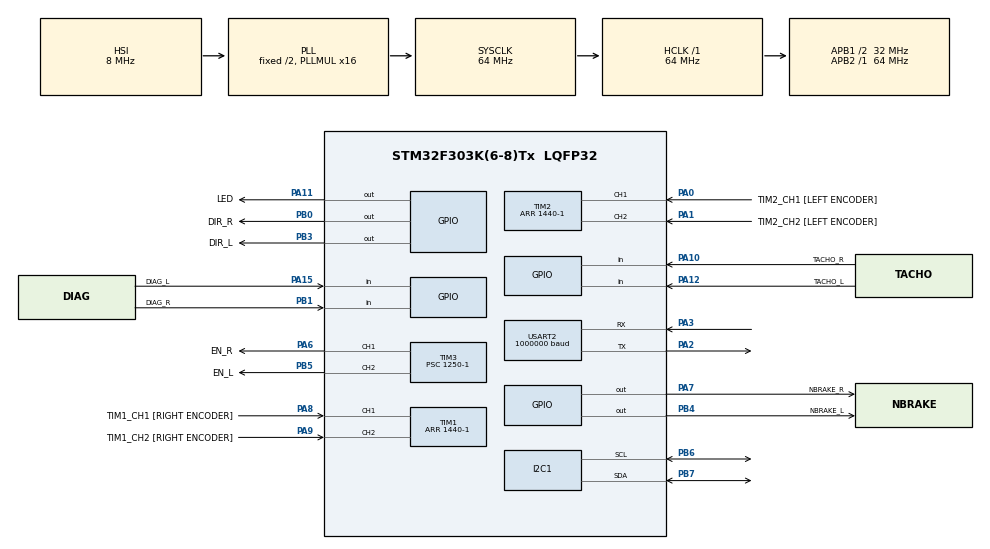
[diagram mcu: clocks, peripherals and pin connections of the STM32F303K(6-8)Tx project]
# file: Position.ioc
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Dma.Request0=USART2_RX
Dma.USART2_RX.0.Direction=DMA_PERIPH_TO_MEMORY
Dma.USART2_RX.0.Instance=DMA1_Channel6
Dma.USART2_RX.0.MemDataAlignment=DMA_MDATAALIGN_BYTE
Dma.USART2_RX.0.MemInc=DMA_MINC_ENABLE
Dma.USART2_RX.0.Mode=DMA_CIRCULAR
Dma.USART2_RX.0.PeriphDataAlignment=DMA_PDATAALIGN_BYTE
Dma.USART2_RX.0.PeriphInc=DMA_PINC_DISABLE
Dma.USART2_RX.0.Priority=DMA_PRIORITY_LOW
Mcu.Family=STM32F3
Mcu.Name=STM32F303K(6-8)Tx
Mcu.Package=LQFP32
NVIC.DMA1_Channel6_IRQn=true\:0\:0\:false\:false\:true\:false
NVIC.PriorityGroup=NVIC_PRIORITYGROUP_4
NVIC.TIM1_BRK_TIM15_IRQn=true\:0\:0\:false\:false\:true\:true
NVIC.USART2_IRQn=true\:0\:0\:false\:false\:true\:true
PA0.GPIO_Label=TIM2_CH1 [LEFT ENCODER]
PA0.GPIO_PuPd=GPIO_PULLUP
PA0.Signal=S_TIM2_CH1_ETR
PA1.GPIO_Label=TIM2_CH2 [LEFT ENCODER]
PA1.GPIO_PuPd=GPIO_PULLUP
PA1.Signal=S_TIM2_CH2
PA10.GPIO_Label=TACHO_R
PA10.Signal=GPIO_Input
PA11.GPIO_Label=LED
PA11.Signal=GPIO_Output
PA12.GPIO_Label=TACHO_L
PA12.Signal=GPIO_Input
PA15.GPIO_Label=DIAG_L
PA15.Signal=GPIO_Input
PA2.Mode=Asynchronous
PA2.Signal=USART2_TX
PA3.Mode=Asynchronous
PA3.Signal=USART2_RX
PA6.GPIO_Label=EN_R
PA6.Signal=S_TIM3_CH1
PA7.GPIO_Label=NBRAKE_R
PA7.Signal=GPIO_Output
PA8.GPIO_Label=TIM1_CH1 [RIGHT ENCODER]
PA8.GPIO_PuPd=GPIO_PULLUP
PA8.Signal=S_TIM1_CH1
PA9.GPIO_Label=TIM1_CH2 [RIGHT ENCODER]
PA9.GPIO_PuPd=GPIO_PULLUP
PA9.Signal=S_TIM1_CH2
PB0.GPIO_Label=DIR_R
PB0.Signal=GPIO_Output
PB1.GPIO_Label=DIAG_R
PB1.GPIO_PuPd=GPIO_PULLDOWN
PB1.Signal=GPIO_Input
PB3.GPIO_Label=DIR_L
PB3.Signal=GPIO_Output
PB4.GPIO_Label=NBRAKE_L
PB4.Signal=GPIO_Output
PB5.GPIO_Label=EN_L
PB5.Signal=S_TIM3_CH2
PB6.Mode=I2C
PB6.Signal=I2C1_SCL
PB7.Mode=I2C
PB7.Signal=I2C1_SDA
ProjectManager.HeapSize=0x200
ProjectManager.StackSize=0x400
ProjectManager.TargetToolchain=Makefile
RCC.AHBFreq_Value=64000000
RCC.APB1CLKDivider=RCC_HCLK_DIV2
RCC.APB1Freq_Value=32000000
RCC.APB1TimFreq_Value=64000000
RCC.APB2Freq_Value=64000000
RCC.APB2TimFreq_Value=64000000
RCC.CortexFreq_Value=64000000
RCC.HCLKFreq_Value=64000000
RCC.HSE_VALUE=8000000
RCC.HSI_VALUE=8000000
RCC.PLLMUL=RCC_PLL_MUL16
RCC.SYSCLKFreq_VALUE=64000000
RCC.SYSCLKSourceVirtual=RCC_SYSCLKSOURCE_PLLCLK
SH.S_TIM1_CH1.0=TIM1_CH1,Encoder_Interface
SH.S_TIM1_CH2.0=TIM1_CH2,Encoder_Interface
SH.S_TIM2_CH1_ETR.0=TIM2_CH1,Encoder_Interface
SH.S_TIM2_CH2.0=TIM2_CH2,Encoder_Interface
SH.S_TIM3_CH1.0=TIM3_CH1,PWM Generation1 CH1
SH.S_TIM3_CH2.0=TIM3_CH2,PWM Generation2 CH2
TIM1.CounterMode=TIM_COUNTERMODE_UP
TIM1.EncoderMode=TIM_ENCODERMODE_TI12
TIM1.IC1Filter=0
TIM1.IC1Polarity=TIM_ICPOLARITY_FALLING
TIM1.IC2Filter=0
TIM1.Period=1440-1
TIM1.TIM_MasterOutputTrigger=TIM_TRGO_RESET
TIM1.TIM_MasterOutputTrigger2=TIM_TRGO2_RESET
TIM15.Period=10-1
TIM15.Prescaler=1000-1
TIM2.CounterMode=TIM_COUNTERMODE_UP
TIM2.EncoderMode=TIM_ENCODERMODE_TI12
TIM2.IC1Filter=0
TIM2.IC1Polarity=TIM_ICPOLARITY_RISING
TIM2.IC2Filter=0
TIM2.Period=1440-1
TIM2.TIM_MasterOutputTrigger=TIM_TRGO_RESET
TIM3.Channel-PWM\ Generation1\ CH1=TIM_CHANNEL_1
TIM3.Channel-PWM\ Generation2\ CH2=TIM_CHANNEL_2
TIM3.Period=255-1
TIM3.Prescaler=1250-1
USART2.BaudRate=1000000
USART2.VirtualMode-Asynchronous=VM_ASYNC
USART2.WordLength=WORDLENGTH_8B
VP_TIM15_VS_ClockSourceINT.Mode=Internal
VP_TIM3_VS_ClockSourceINT.Mode=Internal
VP_WWDG_VS_WWDG.Mode=WWDG_Activate
WWDG.Counter=127
WWDG.EWIMode=WWDG_EWI_ENABLE
WWDG.Prescaler=WWDG_PRESCALER_8
WWDG.Window=120
board=Position

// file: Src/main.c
/**
  ******************************************************************************
  * @file           : main.c
  * @brief          : Main program body
  ******************************************************************************
  ** This notice applies to any and all portions of this file
  * that are not between comment pairs USER CODE BEGIN and
  * USER CODE END. Other portions of this file, whether
  * inserted by the user or by software development tools
  * are owned by their respective copyright owners.
  *
  * COPYRIGHT(c) 2018 STMicroelectronics
  *
  * Redistribution and use in source and binary forms, with or without modification,
  * are permitted provided that the following conditions are met:
  *   1. Redistributions of source code must retain the above copyright notice,
  *      this list of conditions and the following disclaimer.
  *   2. Redistributions in binary form must reproduce the above copyright notice,
  *      this list of conditions and the following disclaimer in the documentation
  *      and/or other materials provided with the distribution.
  *   3. Neither the name of STMicroelectronics nor the names of its contributors
  *      may be used to endorse or promote products derived from this software
  *      without specific prior written permission.
  *
  * THIS SOFTWARE IS PROVIDED BY THE COPYRIGHT HOLDERS AND CONTRIBUTORS "AS IS"
  * AND ANY EXPRESS OR IMPLIED WARRANTIES, INCLUDING, BUT NOT LIMITED TO, THE
  * IMPLIED WARRANTIES OF MERCHANTABILITY AND FITNESS FOR A PARTICULAR PURPOSE ARE
  * DISCLAIMED. IN NO EVENT SHALL THE COPYRIGHT HOLDER OR CONTRIBUTORS BE LIABLE
  * FOR ANY DIRECT, INDIRECT, INCIDENTAL, SPECIAL, EXEMPLARY, OR CONSEQUENTIAL
  * DAMAGES (INCLUDING, BUT NOT LIMITED TO, PROCUREMENT OF SUBSTITUTE GOODS OR
  * SERVICES; LOSS OF USE, DATA, OR PROFITS; OR BUSINESS INTERRUPTION) HOWEVER
  * CAUSED AND ON ANY THEORY OF LIABILITY, WHETHER IN CONTRACT, STRICT LIABILITY,
  * OR TORT (INCLUDING NEGLIGENCE OR OTHERWISE) ARISING IN ANY WAY OUT OF THE USE
  * OF THIS SOFTWARE, EVEN IF ADVISED OF THE POSSIBILITY OF SUCH DAMAGE.
  *
  ******************************************************************************
  */
#include "main.h"
#include "stm32f3xx_hal.h"
#include "dma.h"
#include "i2c.h"
#include "tim.h"
#include "usart.h"
#include "wwdg.h"
#include "gpio.h"

/* USER CODE BEGIN Includes */
#include "motor.h"
#include "odometry.h"
#include "Robotronik_corp_pid.h"

#include "robotronik_protocol.h"
#include "robotronik_protocol_stm32f3.h"
#include "remote_call.h"

#include "server.h"
#include "fsm_master.h"

#include "interpol.h"
/* USER CODE END Includes */

/* USER CODE BEGIN PV */
/* Private variables ---------------------------------------------------------*/

Odometry odometry;
volatile int sum_goal,diff_goal;
PID_DATA pid_sum;
PID_DATA pid_diff;

extern FSM_Instance *volatile fsm;
extern FSM_Position_Pts fsm_pos_pts;
extern FSM_Position_Pts fsm_pos_abs;
extern volatile float ENCODER_DIST;//distance between encoders
extern volatile float ENCODER_STEP_DIST;//distance for 1 encoder step/2
extern volatile float deltaL;

/* USER CODE END PV */

void SystemClock_Config(void);

/* USER CODE BEGIN PFP */
/* Private function prototypes -----------------------------------------------*/

/* USER CODE END PFP */

/* USER CODE BEGIN 0 */
void HAL_WWDG_EarlyWakeupCallback(WWDG_HandleTypeDef* p_hwwdg){
  if(p_hwwdg == &hwwdg){

  }
}
/* USER CODE END 0 */

int main(void)
{

  /* MCU Configuration----------------------------------------------------------*/

  /* Reset of all peripherals, Initializes the Flash interface and the Systick. */
  HAL_Init();

  /* Configure the system clock */
  SystemClock_Config();

  /* Initialize all configured peripherals */
  MX_GPIO_Init();
  MX_DMA_Init();
  MX_I2C1_Init();
  MX_TIM1_Init();
  MX_TIM2_Init();
  MX_USART2_UART_Init();
  MX_TIM3_Init();
  MX_TIM15_Init();
  //MX_WWDG_Init();//TODO re-enable
  /* USER CODE BEGIN 2 */

  //==================================================
  //                    UART
  //==================================================
  RP_Init_Interface(&P_interface, USART2, RP_UART_Transmit, HAL_GetTick);
  RP_INIT_UART_DMA(DMA1, LL_DMA_CHANNEL_6, USART2, P_interface);

  //==================================================
  //              Remote Call Server
  //==================================================
  RC_Server_Init(&P_server,&P_interface);

  RC_Server_Add_Function(&P_server, P_RESET, reset, "", "", RC_IMMEDIATE);
  RC_Server_Add_Function(&P_server, P_SET_ASSER_SUM, set_asser_sum, "fffif", "", RC_IMMEDIATE);//sets the pid parameters P I D steps tolerance and speed tolerance
  RC_Server_Add_Function(&P_server, P_SET_ASSER_DIFF, set_asser_diff, "fffif", "", RC_IMMEDIATE);

  //all values are in cm, rad and seconds
  //sets the initial position
  RC_Server_Add_Function(&P_server, P_SET_ODO, set_odo, "BBf", "", RC_IMMEDIATE);//x_ y_ theta_

  //returns the position x y angle
  RC_Server_Add_Function(&P_server, P_GET_ODO, get_odo, "", "BBf", RC_IMMEDIATE);

  //speed distance in mm makes the robot go forward or backward
  RC_Server_Add_Function(&P_server, P_GO_FORWARD, go_forward, "ff", "", RC_IMMEDIATE);
  RC_Server_Add_Function(&P_server, P_SET_ANGLE, set_angle, "ff", "", RC_IMMEDIATE);

  //rotation speed, linear speed, x point in cm, y point in mm
  RC_Server_Add_Function(&P_server, P_SET_POSITION_X_Y, set_position_x_y, "ffBB", "", RC_IMMEDIATE);
  RC_Server_Add_Function(&P_server, P_GET_STATE, get_state, "", "b", RC_IMMEDIATE);
  RC_Server_Add_Function(&P_server, P_BALEC, balec, "", "", RC_IMMEDIATE);

  RC_Server_Add_Function(&P_server, P_INIT_PATH, init_path, "", "", RC_IMMEDIATE);
  RC_Server_Add_Function(&P_server, P_ADD_POINT, add_point, "BB", "", RC_IMMEDIATE);
  RC_Server_Add_Function(&P_server, P_FOLLOW_PATH, follow_path, "", "", RC_IMMEDIATE);
  RC_Server_Add_Function(&P_server, P_CONFIG_CURVE, config_curve, "ffffffff", "", RC_IMMEDIATE);//z w vc vr P I D speed_percent_tolerance

  //added functions
  RC_Server_Add_Function(&P_server, P_BRAKE, brake, "", "", RC_IMMEDIATE);

  /**************************************************/
  /*            PID INIT                            */
  /**************************************************/
  int Te = 10;//in ms
  int prec_steps_l=0,prec_steps_r=0;
  float kc=0,speed_percent=0,vr=0,vl=0,wc=0,val_r,val_l;//for interpolation
  //PID Sum
  pid_sum = (PID_DATA) {.Te = 0.01,
				 .Kp = 0.01,
				 .Ki = 0.01,
			.Kd = 0.0001,
			.position_tolerance = 100};
  pid_init(&pid_sum);

  //PID Diff
  pid_diff = (PID_DATA) {.Te = 0.01,
				  .Kp = 0.01,
				  .Ki = 0.01,
			 .Kd = 0.0001,
  .position_tolerance = 100};
  pid_init(&pid_diff);

  fsm_pos_pts.pid_speed_l=(PID_SPEED_DATA) {.Te = 0.01,
				 .Kp = 0.01,
				 .Ki = 0.01,
				 .Kd = 0.0001};
  fsm_pos_pts.pid_speed_r=(PID_SPEED_DATA) {.Te = 0.01,
				 .Kp = 0.01,
				 .Ki = 0.01,
				 .Kd = 0.0001};
  /**************************************************/
  /*            Odometry Start                      */
  /**************************************************/
  //Init odometry struct and start sampling
  init_odometry(&odometry, &htim2, &htim1, &htim15);

  /**************************************************/
  /*            Motors Init                         */
  /**************************************************/
  //Init variable used to reconfigure PWM
  TIM_OC_InitTypeDef sConfigOC;
  sConfigOC.OCMode = TIM_OCMODE_PWM1;
  sConfigOC.OCPolarity = TIM_OCPOLARITY_HIGH;
  sConfigOC.OCFastMode = TIM_OCFAST_DISABLE;

  //PWM Start
  HAL_TIM_PWM_Start(&htim3, TIM_CHANNEL_2);//EN_2
  HAL_TIM_PWM_Start(&htim3, TIM_CHANNEL_1);//EN_1

  //Direction init : forward
  HAL_GPIO_WritePin(DIR_R_GPIO_Port, DIR_R_Pin, 1);
  HAL_GPIO_WritePin(DIR_L_GPIO_Port, DIR_L_Pin, 0);

  //Enable : stop
  DRIVE_MOTOR_R(0);//encoder2 forward positive positive voltage
  DRIVE_MOTOR_L(0);//encoder1 forward positive positive voltage

  //Release the brakes
  HAL_GPIO_WritePin (NBRAKE_R_GPIO_Port, NBRAKE_R_Pin, GPIO_PIN_SET);
  HAL_GPIO_WritePin (NBRAKE_L_GPIO_Port, NBRAKE_L_Pin, GPIO_PIN_SET);

  /* USER CODE END 2 */

  /* Infinite loop */
  /* USER CODE BEGIN WHILE */

  sum_goal=0;
  diff_goal=0;

#if TEST_ENCODER != 0
  while (1) {
    int i;
    for(i = 0; i < 25500; i++){
      if(i == 0){
	HAL_GPIO_WritePin(LED_GPIO_Port, LED_Pin, GPIO_PIN_SET);
      }
      if(i%100 && i/100 == led_level){
	HAL_GPIO_WritePin(LED_GPIO_Port, LED_Pin, GPIO_PIN_RESET);
      }
    }
  }
#endif

  fsm= (FSM_Instance*)&fsm_pos_abs;
  fsm->run=FSM_Abs_End;
  float cor_sum, cor_diff;
  while (1)
  {
    //Watchdog refresh
    //HAL_WWDG_Refresh(&hwwdg);//TODO re-enable
    //FSM
    fsm->run(fsm);

    //Process PID
    if(fsm->run!=FSM_Pts_Run)//simple mode
    {
      cor_sum = pid(&pid_sum, sum_goal - 0.5 * (odometry.encoder_l.steps + odometry.encoder_r.steps));
      cor_diff = pid(&pid_diff, diff_goal - (odometry.encoder_r.steps - odometry.encoder_l.steps));

      val_r = cor_sum + cor_diff;
      val_l = cor_sum - cor_diff;

    }
    else//interpolation mode
    {
      kc=Kc(&(fsm_pos_pts.points),fsm_pos_pts.z,fsm_pos_pts.w,&speed_percent);
      wc=kc*fsm_pos_pts.vr;
      vr=fsm_pos_pts.vc*speed_percent+wc*ENCODER_DIST/2;
      vl=fsm_pos_pts.vc*speed_percent-wc*ENCODER_DIST/2;
      val_r=pid_speed(&fsm_pos_pts.pid_speed_r,vr-(odometry.encoder_r.steps-prec_steps_r)/pid_sum.Te);
      val_l=pid_speed(&fsm_pos_pts.pid_speed_l,vl-(odometry.encoder_l.steps-prec_steps_l)/pid_sum.Te);
      prec_steps_l=odometry.encoder_l.steps;
      prec_steps_r=odometry.encoder_r.steps;
      if(speed_percent<fsm_pos_pts.speed_percent_tolerance) fsm->status=FSM_SUCCESS;
    }
    //Motor control
    DRIVE_MOTOR_L(val_l);
    DRIVE_MOTOR_R(val_r);

    HAL_Delay(Te);
  /* USER CODE END WHILE */

  }

}

void SystemClock_Config(void)
{

  RCC_OscInitTypeDef RCC_OscInitStruct;
  RCC_ClkInitTypeDef RCC_ClkInitStruct;
  RCC_PeriphCLKInitTypeDef PeriphClkInit;

    /**Initializes the CPU, AHB and APB busses clocks
    */
  RCC_OscInitStruct.OscillatorType = RCC_OSCILLATORTYPE_HSI;
  RCC_OscInitStruct.HSIState = RCC_HSI_ON;
  RCC_OscInitStruct.HSICalibrationValue = 16;
  RCC_OscInitStruct.PLL.PLLState = RCC_PLL_ON;
  RCC_OscInitStruct.PLL.PLLSource = RCC_PLLSOURCE_HSI;
  RCC_OscInitStruct.PLL.PLLMUL = RCC_PLL_MUL16;
  if (HAL_RCC_OscConfig(&RCC_OscInitStruct) != HAL_OK)
  {
    _Error_Handler(__FILE__, __LINE__);
  }

    /**Initializes the CPU, AHB and APB busses clocks
    */
  RCC_ClkInitStruct.ClockType = RCC_CLOCKTYPE_HCLK|RCC_CLOCKTYPE_SYSCLK
                              |RCC_CLOCKTYPE_PCLK1|RCC_CLOCKTYPE_PCLK2;
  RCC_ClkInitStruct.SYSCLKSource = RCC_SYSCLKSOURCE_PLLCLK;
  RCC_ClkInitStruct.AHBCLKDivider = RCC_SYSCLK_DIV1;
  RCC_ClkInitStruct.APB1CLKDivider = RCC_HCLK_DIV2;
  RCC_ClkInitStruct.APB2CLKDivider = RCC_HCLK_DIV1;

  if (HAL_RCC_ClockConfig(&RCC_ClkInitStruct, FLASH_LATENCY_2) != HAL_OK)
  {
    _Error_Handler(__FILE__, __LINE__);
  }

  PeriphClkInit.PeriphClockSelection = RCC_PERIPHCLK_I2C1|RCC_PERIPHCLK_TIM1;
  PeriphClkInit.I2c1ClockSelection = RCC_I2C1CLKSOURCE_HSI;
  PeriphClkInit.Tim1ClockSelection = RCC_TIM1CLK_HCLK;
  if (HAL_RCCEx_PeriphCLKConfig(&PeriphClkInit) != HAL_OK)
  {
    _Error_Handler(__FILE__, __LINE__);
  }

    /**Configure the Systick interrupt time
    */
  HAL_SYSTICK_Config(HAL_RCC_GetHCLKFreq()/1000);

    /**Configure the Systick
    */
  HAL_SYSTICK_CLKSourceConfig(SYSTICK_CLKSOURCE_HCLK);

  /* SysTick_IRQn interrupt configuration */
  HAL_NVIC_SetPriority(SysTick_IRQn, 0, 0);
}

void _Error_Handler(char *file, int line)
{
  while(1)
  {
  }
}

/************************ (C) COPYRIGHT STMicroelectronics *****END OF FILE****/
